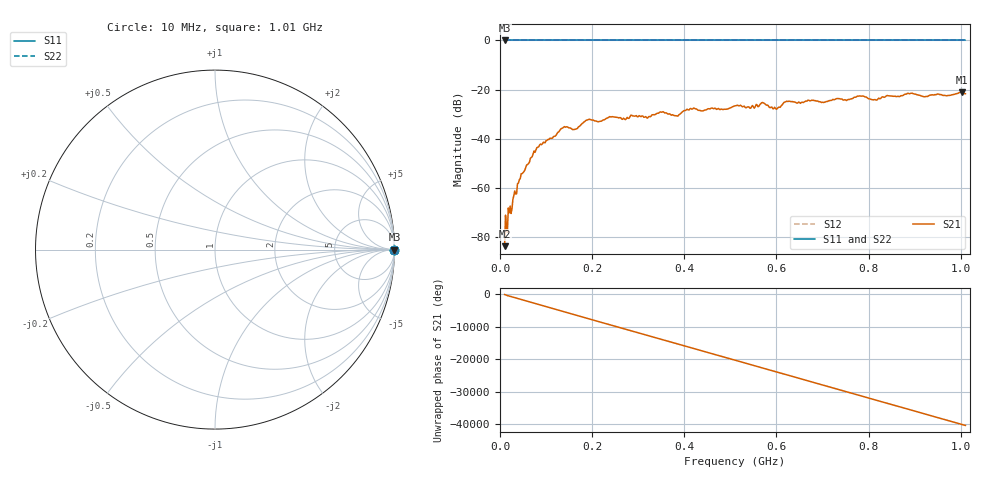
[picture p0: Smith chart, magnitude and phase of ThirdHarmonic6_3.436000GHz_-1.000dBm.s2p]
! 8/17/2025 11:03:54 AM
! C:\ANRITSUVNA\TEMP\TEMP.S2P
! CHANNEL.1
! TR.MEASUREMENT
! RAW.DATA
! RF.CORRECTION.OFF
! AVERAGING.OFF
! IF.BANDWIDTH: 5KHZ
! SWEEPTYPE:  FREQ.SWEEP(Linear)
! Reference Plane Port Info
! PORT:  PORT1  PORT2
! DISTANCE:  0  m  0  m
! TIME:  0  s  0  s
! PHASE.OFFSET:  0  deg.  0  deg.
! LOSS:  0  dB  0  dB
! REF.LOSS:  0  dB  0  dB
! REF.FREQ:  0  Hz  0  Hz
! Power Info
! POWER:  -20  dBm  -20  dBm
! EFF.POWER:  -20  dBm  -20  dBm
! SOURCE.ATTEN:  0  dB  0  dB
! TEST.ATTEN:  0  dB  0  dB
# GHZ S RI R 50.0
! FREQ.GHZ  S11RE  S11IM  S21RE  S21IM  S12RE  S12IM  S22RE  S22IM
!; PortSelection: Port_12
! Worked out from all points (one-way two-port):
!   501 points, 10 MHz to 1.01 GHz, reference 50 ohm
!   highest |S21| = -21.06 dB at 1.002 GHz (marker M1); lowest = -83.6 dB at 10 MHz (marker M2)
!   lowest |S11| = 0.0 dB at 10 MHz (marker M3)
!   |S11| at or under -10 dB: nowhere
!   |S22| runs from 0.0 to 0.0 dB; largest |S21 - S12| = 1.1
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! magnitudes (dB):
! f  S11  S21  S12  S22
! 10 MHz  0.0  -83.6  0.0  0.0
! 42 MHz  0.0  -56.6  0.0  0.0
! 76 MHz  0.0  -45.5  0.0  0.0
! 136 MHz  0.0  -35.6  0.0  0.0
! 162 MHz  0.0  -36.1  0.0  0.0
! 178 MHz  0.0  -33.8  0.0  0.0
! 192 MHz  0.0  -32.1  0.0  0.0
! 322 MHz  0.0  -31.1  0.0  0.0
! 344 MHz  0.0  -29.6  0.0  0.0
! 382 MHz  0.0  -30.6  0.0  0.0
! 416 MHz  0.0  -27.9  0.0  0.0
! 510 MHz  0.0  -26.6  0.0  0.0
! 548 MHz  0.0  -26.4  0.0  0.0
! 570 MHz  0.0  -25.2  0.0  0.0
! 598 MHz  0.0  -27.6  0.0  0.0
! 622 MHz  0.0  -24.7  0.0  0.0
! 678 MHz  0.0  -24.3  0.0  0.0
! 784 MHz  0.0  -22.6  0.0  0.0
! 814 MHz  0.0  -24.0  0.0  0.0
! 844 MHz  0.0  -22.5  0.0  0.0
! 1.002 GHz  0.0  -21.1  0.0  0.0
! 1.01 GHz  0.0  -21.6  0.0  0.0
